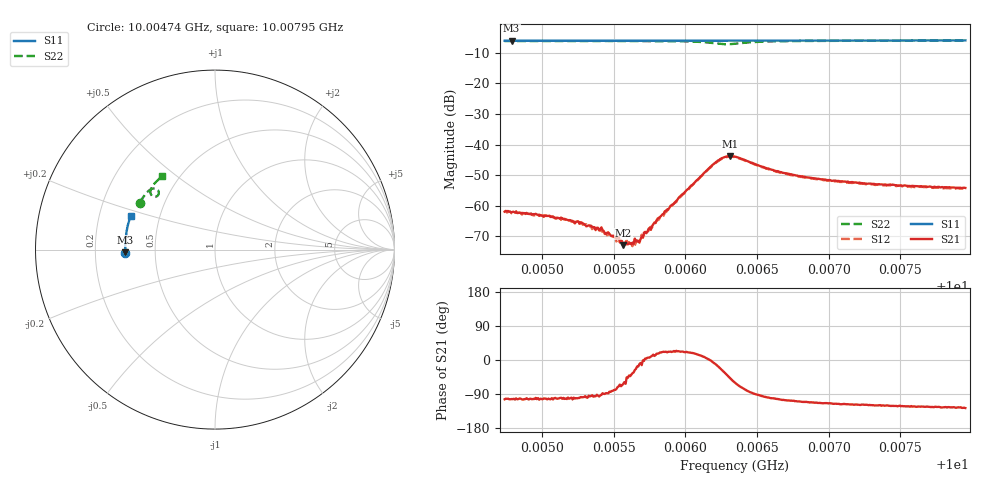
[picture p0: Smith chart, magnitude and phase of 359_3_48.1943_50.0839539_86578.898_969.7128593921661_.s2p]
#  HZ  S  RI  R  50.00
! Rohde & Schwarz Vector Network Analyzer
! Rohde-Schwarz,ZNB20-2Port,1311601062101988,3.16
! Created: UTC 3/20/2024, 11:52:08 AM
! freq[Hz]  re:S11  im:S11  re:S21  im:S21  re:S12  im:S12  re:S22  im:S22
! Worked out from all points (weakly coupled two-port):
!   401 points, 10.00474 GHz to 10.00795 GHz, reference 50 ohm
!   highest |S21| = -43.76 dB at 10.00631 GHz (marker M1); lowest = -72.9 dB at 10.00557 GHz (marker M2)
!   lowest |S11| = -6.0 dB at 10.00479 GHz (marker M3), VSWR 2.99, Z = 16.7 - j0.706 ohm
!   |S11| at or under -10 dB: nowhere
!   |S22| runs from -7.2 to -6.0 dB; largest |S21 - S12| = 0.00038
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1.000474e10  -0.4988 -0.019  -0.000189 -0.000779  -0.000152 -0.00082  -0.4182 0.2623
1.0004788e10  -0.4989 -0.0159  -0.000174 -0.000752  -0.000162 -0.000737  -0.4164 0.265
1.0005013e10  -0.4997 -0.00124  -0.000132 -0.000646  -0.000126 -0.000683  -0.4087 0.2785
1.0005278e10  -0.5 0.016  -7.55e-05 -0.000524  -6.47e-05 -0.000505  -0.3983 0.2943
1.0005407e10  -0.4999 0.0244  -2.51e-05 -0.000405  1.34e-06 -0.000391  -0.3928 0.302
1.0005568e10  -0.4995 0.0347  0.000103 -0.000201  0.000126 -0.000189  -0.3852 0.3118
1.0005608e10  -0.4995 0.0374  0.000183 -0.000158  0.00018 -0.000179  -0.3829 0.3143
1.000564e10  -0.4993 0.0393  0.000202 -0.000129  0.000201 -0.00014  -0.3813 0.3161
1.0005672e10  -0.4993 0.0413  0.000253 -7.78e-05  0.000252 -5.88e-05  -0.3795 0.3182
1.0005688e10  -0.4992 0.0426  0.000281 -3.91e-05  0.00029 -5.85e-05  -0.3787 0.319
1.0005704e10  -0.4992 0.0435  0.000303 -5.46e-06  0.000301 3.28e-06  -0.3776 0.3203
1.0005744e10  -0.499 0.0461  0.000418 4.65e-05  0.000382 8.1e-05  -0.3751 0.3228
1.0005817e10  -0.4986 0.0508  0.000606 0.000192  0.000559 0.000202  -0.3701 0.3274
1.0006186e10  -0.4961 0.0747  0.00456 -0.000314  0.00446 -7.41e-05  -0.319 0.332
1.0006259e10  -0.4952 0.0791  0.00538 -0.00276  0.00541 -0.00247  -0.3136 0.3103
1.0006315e10  -0.4949 0.0824  0.00428 -0.00487  0.00443 -0.00457  -0.3263 0.2956
1.0006347e10  -0.4946 0.0844  0.00318 -0.00551  0.00339 -0.00524  -0.3367 0.2936
1.000662e10  -0.4925 0.1018  -0.000742 -0.00369  -0.000576 -0.00366  -0.3585 0.3325
1.0006886e10  -0.4893 0.1188  -0.00107 -0.00263  -0.000932 -0.00264  -0.3468 0.3554
1.0007127e10  -0.4859 0.1339  -0.0011 -0.00219  -0.000995 -0.00218  -0.3349 0.3703
1.0007424e10  -0.481 0.1524  -0.00113 -0.0019  -0.00103 -0.00191  -0.3202 0.3858
1.0007954e10  -0.4705 0.185  -0.00117 -0.00157  -0.00106 -0.00157  -0.2932 0.4097
